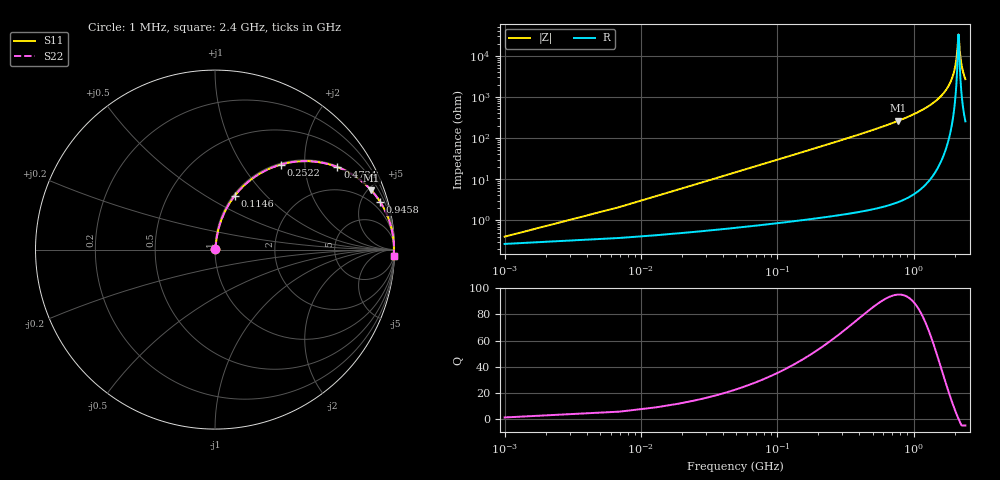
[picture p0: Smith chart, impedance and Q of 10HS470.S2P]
! Coilcraft 1008CS-470 Chip Inductor
! 02 July 2002
# MHZ S MA R 50
!Freq  MagS11  AngS11  MagS21  AngS21  MagS12  AngS12  MagS22  AngS22
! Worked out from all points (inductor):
!   403 points, 1 MHz to 2.4 GHz, reference 50 ohm
!   read as one part in series: L = 47 nH near 12.96 MHz
!   highest Q = 95.2 at 772.4 MHz (marker M1), where L = 54.1 nH
!   self-resonance near 2.136 GHz
!   S11 on the Smith chart (normalised r, x): 1 MHz: 1.01, +0.01; 114.6 MHz: 1.02, +0.68; 252.2 MHz: 1.02, +1.51; 473.4 MHz: 1.04, +2.94; 945.8 MHz: 1.08, +6.95; 2.4 GHz: 6, -54
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1  0.003951 48.0  0.9974 -0.2  0.9974 -0.2  0.003951 48.0
18.94  0.05579 81.9  0.9937 -3.2  0.9937 -3.2  0.05579 81.9
30.9  0.09056 81.3  0.9904 -5.2  0.9904 -5.2  0.09056 81.3
60.8  0.1758 77.7  0.9776 -10.1  0.9776 -10.1  0.1758 77.7
114.62  0.319 69.9  0.9394 -18.6  0.9394 -18.6  0.319 69.9
252.16  0.598 52.3  0.7917 -36.7  0.7917 -36.7  0.598 52.3
401.66  0.771 38.8  0.627 -50.4  0.627 -50.4  0.771 38.8
473.42  0.8223 34.0  0.5593 -55.3  0.5593 -55.3  0.8223 34.0
772.42  0.9312 20.8  0.3549 -68.6  0.3549 -68.6  0.9312 20.8
802.32  0.937 19.9  0.3397 -69.5  0.3397 -69.5  0.937 19.9
945.84  0.9582 16.0  0.2759 -73.4  0.2759 -73.4  0.9582 16.0
1202.98  0.9796 10.9  0.1884 -78.4  0.1884 -78.4  0.9796 10.9
1603.64  0.9934 5.3  0.09169 -83.2  0.09169 -83.2  0.9934 5.3
1848.82  0.9963 2.6  0.04601 -84.1  0.04601 -84.1  0.9963 2.6
2004.3  0.997 1.2  0.0205 -81.0  0.0205 -81.0  0.997 1.2
2070.08  0.9971 0.6  0.0105 -73.4  0.0105 -73.4  0.9971 0.6
2135.86  0.997 0.0  0.002999 -4.1  0.002999 -4.1  0.997 0.0
2147.82  0.997 -0.1  0.003385 27.1  0.003385 27.1  0.997 -0.1
2195.66  0.9969 -0.5  0.009049 69.6  0.009049 69.6  0.9969 -0.5
2237.52  0.9967 -0.8  0.01481 76.9  0.01481 76.9  0.9967 -0.8
2309.28  0.9964 -1.4  0.02467 80.9  0.02467 80.9  0.9964 -1.4
2400  0.9959 -2.1  0.03681 82.5  0.03681 82.5  0.9959 -2.1
